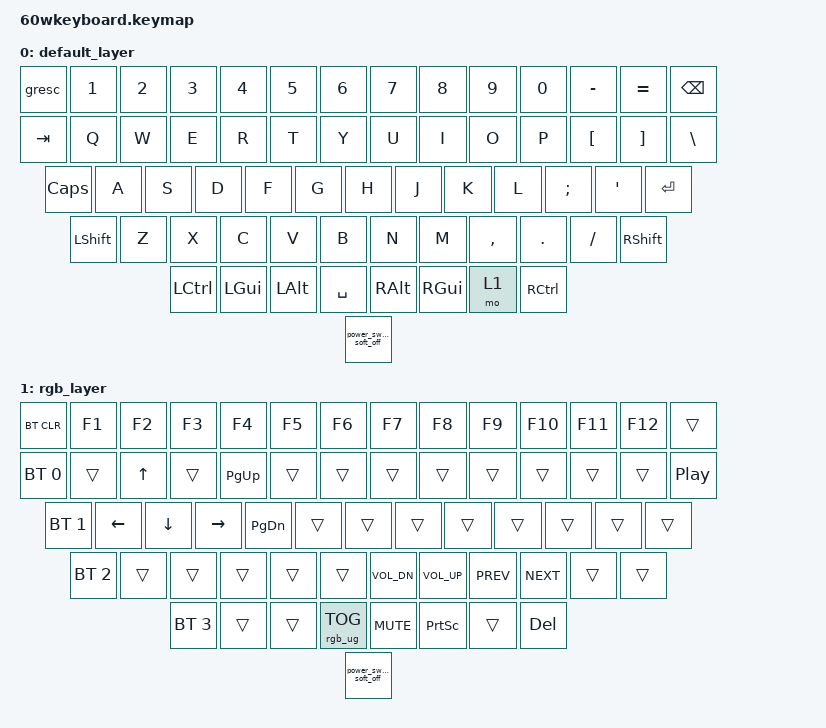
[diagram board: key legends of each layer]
#include <behaviors.dtsi>
#include <dt-bindings/zmk/keys.h>
#include <dt-bindings/zmk/rgb.h>
#include <dt-bindings/zmk/bt.h>
/ {
    keymap {
        compatible = "zmk,keymap";
        default_layer {
            // ------------------------------------------------------------------------------------------
            // | ESC |  1  |  2  |  3  |  4  |  5  |  6  |  7  |  8  |  9  |  0  |  -  |  =  |   BSPC   |
            // | TAB  |  Q  |  W  |  E  |  R  |  T  |  Y  |  U  |  I  |  O  |  P  |  [  |  ]  |   "|"   |
            // | CAPS  |  A  |  S  |  D  |  F  |  G  |  H  |  J  |  K  |  L  |  ;  |  '  |     ENTER    |
            // |  SHIFT  |  Z  |  X  |  C  |  V  |  B  |  N  |  M  |  ,  |  .  |  /  |      SHIFT       |
            // |  CTL  |  WIN  |  ALT  |            SPACE              |  ALT  |  WIN  |  MO(1) |  CTL  |
            // ------------------------------------------------------------------------------------------
            bindings = <
                &gresc  &kp N1 &kp N2 &kp N3 &kp N4 &kp N5 &kp N6 &kp N7 &kp N8 &kp N9 &kp N0 &kp MINUS &kp EQUAL  &kp BSPC
                &kp TAB  &kp Q  &kp W  &kp E  &kp R  &kp T  &kp Y  &kp U  &kp I  &kp O  &kp P  &kp LBKT  &kp RBKT  &kp BSLH
                &kp CLCK  &kp A  &kp S  &kp D  &kp F  &kp G  &kp H  &kp J  &kp K  &kp L  &kp SEMI &kp SQT           &kp RET
                &kp LSHFT   &kp Z  &kp X  &kp C  &kp V  &kp B  &kp N  &kp M  &kp COMMA &kp DOT &kp FSLH           &kp RSHFT
                &kp LCTRL &kp LGUI &kp LALT             &kp SPACE                     &kp RALT  &kp RGUI  &mo 1   &kp RCTRL
                &power_switch_soft_off
            >;
        };
        rgb_layer {
            // ------------------------------------------------------------------------------------------------
            // | BT CLR | F1  | F2  | F3  | F4  | F5  | F6  | F7  | F8  | F9  | F10  | F11 | F12 |        |
            // |  BT 1   |   |  UP |   |   | UP |   |   |   |     |    |     |     |           |            PP
            // |   BT 2   | LT |  DN  | RT | DN |   |   |   |   |      |   |     |             |
            // |    BT 3     |     |      |      |     |     |  VOLDN | VOLUP | PREV |  NEXT  |                  |
            // |   BT 4  |      |      |             TOG RGB                |  MUTE  | PRT SCR |         |  DEL  |
            // ------------------------------------------------------------------------------------------------
            bindings = <
                &bt BT_CLR    &kp F1    &kp F2    &kp F3    &kp F4  &kp F5  &kp F6  &kp F7      &kp F8      &kp F9       &kp F10      &kp F11     &kp F12  &trans
                &bt BT_SEL 0  &trans    &kp UP    &trans    &kp PG_UP  &trans  &trans  &trans      &trans      &trans       &trans       &trans      &trans          &kp C_PP
                &bt BT_SEL 1  &kp LEFT  &kp DOWN  &kp RIGHT &kp PG_DN  &trans  &trans  &trans      &trans      &trans     &trans       &trans            &trans
                &bt BT_SEL 2  &trans    &trans    &trans    &trans  &trans  &kp C_VOL_DN  &kp C_VOL_UP  &kp C_PREV  &kp C_NEXT  &trans                        &trans
                &bt BT_SEL 3  &trans    &trans                            &rgb_ug RGB_TOG                         &kp C_MUTE   &kp PSCRN      &trans    &kp DEL
                &power_switch_soft_off
            >;
        };
    };
};
